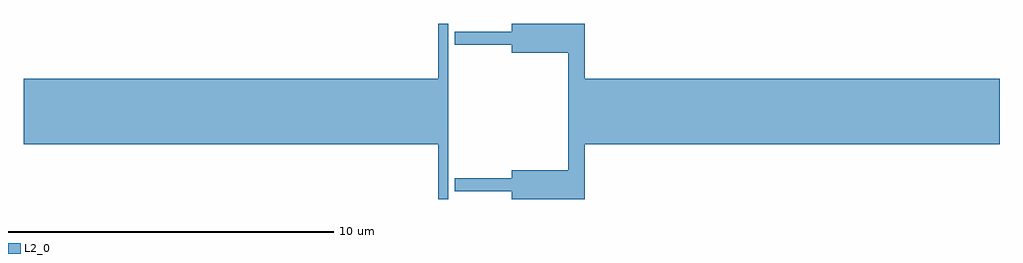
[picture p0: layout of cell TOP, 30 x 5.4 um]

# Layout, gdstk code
import gdstk
lib = gdstk.Library(unit=1e-6, precision=1e-09)
def P(c, l, *ps):  # polygons
    for p in ps: c.add(gdstk.Polygon(p, *l))
L2_0 = (2, 0)

top_main_2 = lib.new_cell('TOP_main_2')
P(top_main_2, L2_0, [(657.75,-1302.7),(657.75,-1301.5),(657.75,-1301.5),(657.75,-1301),(645,-1301),(645,-1299),(657.75,-1299),(657.75,-1299),(657.75,-1298.5),(657.75,-1298.5),(657.75,-1297.3),(658.05,-1297.3),(658.05,-1298.5),(658.05,-1298.5),(658.05,-1301.5),(658.05,-1301.5),(658.05,-1302.7)],
  [(660,-1302.7),(660,-1302.45),(658.25,-1302.45),(658.25,-1302.05),(660,-1302.05),(660,-1301.8),(661.75,-1301.8),(661.75,-1298.2),(660,-1298.2),(660,-1297.95),(658.25,-1297.95),(658.25,-1297.55),(660,-1297.55),(660,-1297.3),(661.75,-1297.3),(662.25,-1297.3),(662.25,-1299),(675,-1299),(675,-1299),(675,-1301),(662.25,-1301),(662.25,-1302.7),(661.75,-1302.7)])

top_main = lib.new_cell('TOP_main')
P(top_main, L2_0, [(657.75,-1302.7),(657.75,-1301.5),(657.75,-1301.5),(657.75,-1301),(645,-1301),(645,-1299),(657.75,-1299),(657.75,-1299),(657.75,-1298.5),(657.75,-1298.5),(657.75,-1297.3),(658.05,-1297.3),(658.05,-1298.5),(658.05,-1298.5),(658.05,-1301.5),(658.05,-1301.5),(658.05,-1302.7)],
  [(660,-1302.7),(660,-1302.45),(658.25,-1302.45),(658.25,-1302.05),(660,-1302.05),(660,-1301.8),(661.75,-1301.8),(661.75,-1298.2),(660,-1298.2),(660,-1297.95),(658.25,-1297.95),(658.25,-1297.55),(660,-1297.55),(660,-1297.3),(661.75,-1297.3),(662.25,-1297.3),(662.25,-1299),(675,-1299),(675,-1299),(675,-1301),(662.25,-1301),(662.25,-1302.7),(661.75,-1302.7)])
top_main.add(gdstk.Reference(top_main_2, (0,0)))

top = lib.new_cell('TOP')
P(top, L2_0, [(657.75,-1302.7),(657.75,-1301.5),(657.75,-1301.5),(657.75,-1301),(645,-1301),(645,-1299),(657.75,-1299),(657.75,-1299),(657.75,-1298.5),(657.75,-1298.5),(657.75,-1297.3),(658.05,-1297.3),(658.05,-1298.5),(658.05,-1298.5),(658.05,-1301.5),(658.05,-1301.5),(658.05,-1302.7)],
  [(660,-1302.7),(660,-1302.45),(658.25,-1302.45),(658.25,-1302.05),(660,-1302.05),(660,-1301.8),(661.75,-1301.8),(661.75,-1298.2),(660,-1298.2),(660,-1297.95),(658.25,-1297.95),(658.25,-1297.55),(660,-1297.55),(660,-1297.3),(661.75,-1297.3),(662.25,-1297.3),(662.25,-1299),(675,-1299),(675,-1299),(675,-1301),(662.25,-1301),(662.25,-1302.7),(661.75,-1302.7)])
top.add(gdstk.Reference(top_main, (0,0)))

lib.write_gds('TOP.gds')
